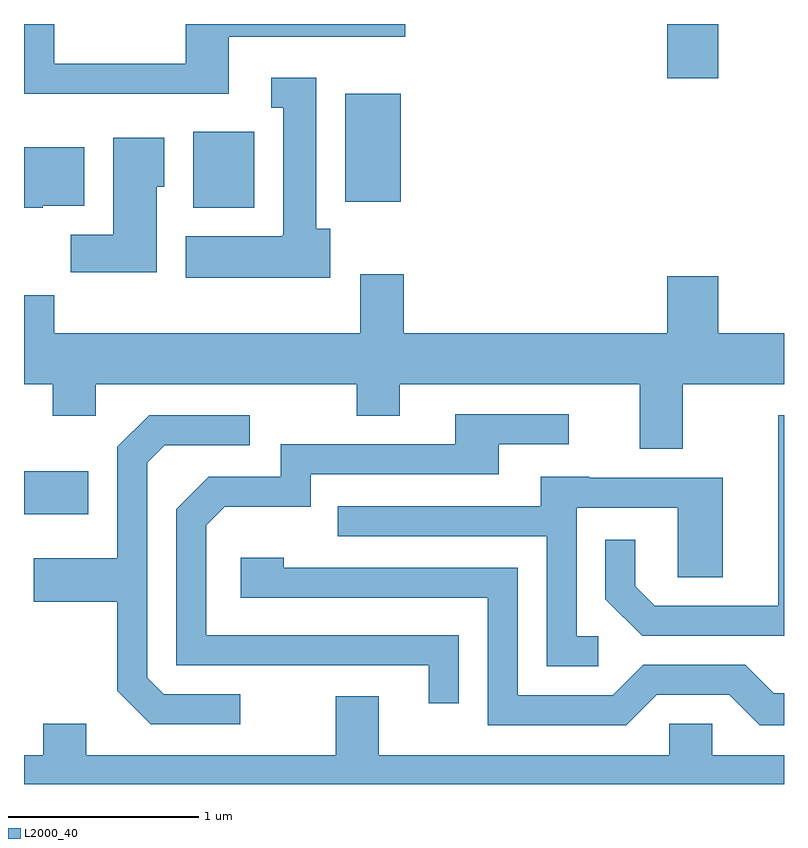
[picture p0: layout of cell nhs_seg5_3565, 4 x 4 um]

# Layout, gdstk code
import gdstk
lib = gdstk.Library(unit=1e-6, precision=1e-09)
def R(c, l, rs):  # rectangles x0, y0, x1, y1
    for r in rs: c.add(gdstk.rectangle(r[:2], r[2:], *l))
def P(c, l, *ps):  # polygons
    for p in ps: c.add(gdstk.Polygon(p, *l))
L2000_40 = (2000, 40)

nhs_seg5_3565 = lib.new_cell('nhs_seg5_3565')
R(nhs_seg5_3565, L2000_40, [(291.611,1409.491,291.949,1409.719), (292.501,1411.106,292.824,1411.504), (293.301,1411.136,293.594,1411.704), (294.996,1411.786,295.264,1412.072)])
P(nhs_seg5_3565, L2000_40, [(292.689,1412.006),(293.618,1412.006),(293.618,1412.072),(292.461,1412.072),(292.461,1411.864),(291.769,1411.864),(291.769,1412.072),(291.611,1412.072),(291.611,1411.706),(292.689,1411.706)],
  [(293.224,1410.994),(293.149,1410.994),(293.149,1411.789),(292.913,1411.789),(292.913,1411.631),(292.976,1411.631),(292.976,1410.96),(292.97,1410.96),(292.97,1410.954),(292.461,1410.954),(292.461,1410.736),(293.224,1410.736)],
  [(292.309,1411.216),(292.349,1411.216),(292.349,1411.474),(292.081,1411.474),(292.081,1410.964),(291.856,1410.964),(291.856,1410.766),(292.309,1410.766)],
  [(291.71,1411.116),(291.929,1411.116),(291.929,1411.424),(291.611,1411.424),(291.611,1411.106),(291.71,1411.106)],
  [(295.079,1410.176),(295.611,1410.176),(295.611,1410.444),(295.264,1410.444),(295.264,1410.744),(294.996,1410.744),(294.996,1410.444),(293.609,1410.444),(293.609,1410.754),(293.381,1410.754),(293.381,1410.444),(291.769,1410.444),(291.769,1410.644),(291.611,1410.644),(291.611,1410.176),(291.761,1410.176),(291.761,1410.011),(291.989,1410.011),(291.989,1410.176),(293.361,1410.176),(293.361,1410.011),(293.589,1410.011),(293.589,1410.176),(294.851,1410.176),(294.851,1409.836),(295.079,1409.836)],
  [(293.899,1408.854),(292.569,1408.854),(292.569,1409.434),(292.667,1409.531),(293.119,1409.531),(293.119,1409.701),(294.109,1409.701),(294.109,1409.861),(294.478,1409.861),(294.478,1410.019),(293.881,1410.019),(293.881,1409.859),(292.961,1409.859),(292.961,1409.689),(292.584,1409.689),(292.411,1409.517),(292.411,1408.696),(293.741,1408.696),(293.741,1408.498),(293.899,1408.498)],
  [(295.611,1410.014),(295.581,1410.014),(295.581,1409.009),(294.932,1409.009),(294.829,1409.112),(294.829,1409.358),(294.671,1409.358),(294.671,1409.044),(294.864,1408.851),(295.611,1408.851)],
  [(292.748,1408.544),(292.347,1408.544),(292.259,1408.632),(292.259,1409.764),(292.352,1409.856),(292.798,1409.856),(292.798,1410.014),(292.269,1410.014),(292.101,1409.847),(292.101,1409.259),(291.661,1409.259),(291.661,1409.031),(292.101,1409.031),(292.101,1408.564),(292.279,1408.386),(292.748,1408.386)],
  [(294.633,1408.849),(294.519,1408.849),(294.519,1409.526),(295.051,1409.526),(295.051,1409.161),(295.289,1409.161),(295.289,1409.684),(294.585,1409.684),(294.585,1409.689),(294.331,1409.689),(294.331,1409.534),(293.263,1409.534),(293.263,1409.376),(294.361,1409.376),(294.361,1408.691),(294.633,1408.691)],
  [(294.942,1408.541),(295.324,1408.541),(295.484,1408.381),(295.611,1408.381),(295.611,1408.549),(295.557,1408.549),(295.407,1408.699),(294.869,1408.699),(294.709,1408.539),(294.209,1408.539),(294.209,1409.209),(292.979,1409.209),(292.979,1409.264),(292.751,1409.264),(292.751,1409.051),(294.051,1409.051),(294.051,1408.381),(294.782,1408.381)],
  [(295.611,1408.224),(295.234,1408.224),(295.234,1408.389),(295.006,1408.389),(295.006,1408.224),(293.479,1408.224),(293.479,1408.534),(293.251,1408.534),(293.251,1408.224),(291.939,1408.224),(291.939,1408.389),(291.711,1408.389),(291.711,1408.224),(291.611,1408.224),(291.611,1408.072),(295.611,1408.072)])

lib.write_gds('nhs_seg5_3565.gds')
